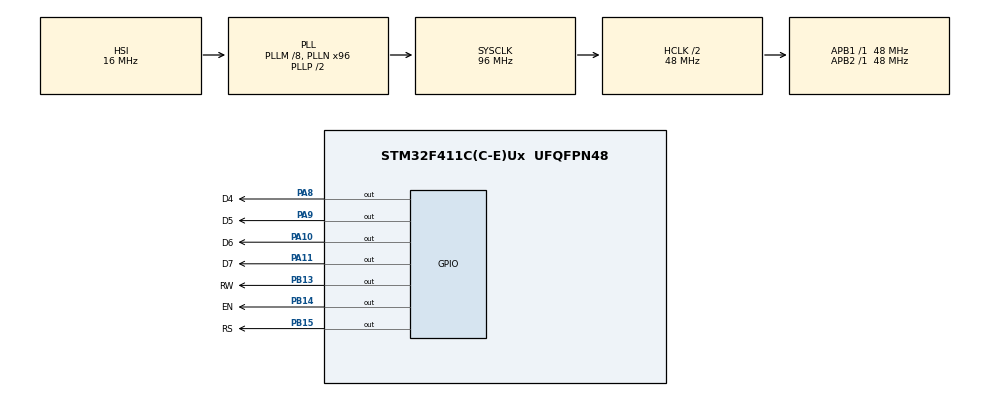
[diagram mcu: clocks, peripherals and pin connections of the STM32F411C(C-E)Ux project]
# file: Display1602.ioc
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Mcu.Family=STM32F4
Mcu.Name=STM32F411C(C-E)Ux
Mcu.Package=UFQFPN48
NVIC.PriorityGroup=NVIC_PRIORITYGROUP_4
PA10.GPIO_Label=D6
PA10.Signal=GPIO_Output
PA11.GPIO_Label=D7
PA11.Signal=GPIO_Output
PA8.GPIO_Label=D4
PA8.Signal=GPIO_Output
PA9.GPIO_Label=D5
PA9.Signal=GPIO_Output
PB13.GPIO_Label=RW
PB13.Signal=GPIO_Output
PB14.GPIO_Label=EN
PB14.Signal=GPIO_Output
PB15.GPIO_Label=RS
PB15.Signal=GPIO_Output
PH0\ -\ OSC_IN.Mode=HSE-External-Oscillator
PH0\ -\ OSC_IN.Signal=RCC_OSC_IN
PH1\ -\ OSC_OUT.Mode=HSE-External-Oscillator
PH1\ -\ OSC_OUT.Signal=RCC_OSC_OUT
ProjectManager.HeapSize=0x200
ProjectManager.StackSize=0x400
ProjectManager.TargetToolchain=STM32CubeIDE
RCC.48MHZClocksFreq_Value=48000000
RCC.AHBCLKDivider=RCC_SYSCLK_DIV2
RCC.AHBFreq_Value=48000000
RCC.APB1Freq_Value=48000000
RCC.APB1TimFreq_Value=48000000
RCC.APB2Freq_Value=48000000
RCC.APB2TimFreq_Value=48000000
RCC.CortexFreq_Value=48000000
RCC.HCLKFreq_Value=48000000
RCC.HSE_VALUE=25000000
RCC.HSI_VALUE=16000000
RCC.LSE_VALUE=32768
RCC.PLLM=8
RCC.PLLN=96
RCC.SYSCLKFreq_VALUE=96000000
RCC.SYSCLKSource=RCC_SYSCLKSOURCE_PLLCLK
RCC.VCOOutputFreq_Value=192000000
board=custom

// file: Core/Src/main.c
/* USER CODE BEGIN Header */
/**
  ******************************************************************************
  * @file           : main.c
  * @brief          : Main program body
  ******************************************************************************
  * @attention
  *
  * Copyright (c) 2022 STMicroelectronics.
  * All rights reserved.
  *
  * This software is licensed under terms that can be found in the LICENSE file
  * in the root directory of this software component.
  * If no LICENSE file comes with this software, it is provided AS-IS.
  *
  ******************************************************************************
  */
/* USER CODE END Header */
#include "main.h"

void SystemClock_Config(void);
static void MX_GPIO_Init(void);
/* USER CODE BEGIN PFP */

void writeCommandLCD(uint32_t, uint32_t, uint32_t, uint32_t, uint32_t, uint32_t);
void clearLCD(void);
void cursorLCD(uint16_t, uint16_t);
void homeLCD(void);
void initLCD(void);
void writeLCD(unsigned char);

/* USER CODE END PFP */

int main(void)
{

  /* MCU Configuration--------------------------------------------------------*/

  /* Reset of all peripherals, Initializes the Flash interface and the Systick. */
  HAL_Init();

  /* Configure the system clock */
  SystemClock_Config();

  /* Initialize all configured peripherals */
  MX_GPIO_Init();
  /* USER CODE BEGIN 2 */
  unsigned char vector[13];
  vector[0] = 88;
  vector[1] = 111;
  vector[2] = 114;
  vector[3] = 110;
  vector[4] = 111;
  vector[5] = 116;
  vector[6] = 111;
  vector[7] = 114;
  vector[8] = 32;
  vector[9] = 50;
  vector[10] = 48;
  vector[11] = 50;
  vector[12] = 50;

  initLCD();

  cursorLCD(0, 4);

  int i;
  for(i = 0; i < 8; i++){
	 writeLCD(vector[i]);
  }

  cursorLCD(1, 6);

  for(i = 9; i < 13; i++){
	  writeLCD(vector[i]);
  }

  /* USER CODE END 2 */

  /* Infinite loop */
  while (1)
  {

  }
}

void SystemClock_Config(void)
{
  RCC_OscInitTypeDef RCC_OscInitStruct = {0};
  RCC_ClkInitTypeDef RCC_ClkInitStruct = {0};

  /** Configure the main internal regulator output voltage
  */
  __HAL_RCC_PWR_CLK_ENABLE();
  __HAL_PWR_VOLTAGESCALING_CONFIG(PWR_REGULATOR_VOLTAGE_SCALE1);

  /** Initializes the RCC Oscillators according to the specified parameters
  * in the RCC_OscInitTypeDef structure.
  */
  RCC_OscInitStruct.OscillatorType = RCC_OSCILLATORTYPE_HSI;
  RCC_OscInitStruct.HSIState = RCC_HSI_ON;
  RCC_OscInitStruct.HSICalibrationValue = RCC_HSICALIBRATION_DEFAULT;
  RCC_OscInitStruct.PLL.PLLState = RCC_PLL_ON;
  RCC_OscInitStruct.PLL.PLLSource = RCC_PLLSOURCE_HSI;
  RCC_OscInitStruct.PLL.PLLM = 8;
  RCC_OscInitStruct.PLL.PLLN = 96;
  RCC_OscInitStruct.PLL.PLLP = RCC_PLLP_DIV2;
  RCC_OscInitStruct.PLL.PLLQ = 4;
  if (HAL_RCC_OscConfig(&RCC_OscInitStruct) != HAL_OK)
  {
    Error_Handler();
  }

  /** Initializes the CPU, AHB and APB buses clocks
  */
  RCC_ClkInitStruct.ClockType = RCC_CLOCKTYPE_HCLK|RCC_CLOCKTYPE_SYSCLK
                              |RCC_CLOCKTYPE_PCLK1|RCC_CLOCKTYPE_PCLK2;
  RCC_ClkInitStruct.SYSCLKSource = RCC_SYSCLKSOURCE_PLLCLK;
  RCC_ClkInitStruct.AHBCLKDivider = RCC_SYSCLK_DIV2;
  RCC_ClkInitStruct.APB1CLKDivider = RCC_HCLK_DIV1;
  RCC_ClkInitStruct.APB2CLKDivider = RCC_HCLK_DIV1;

  if (HAL_RCC_ClockConfig(&RCC_ClkInitStruct, FLASH_LATENCY_1) != HAL_OK)
  {
    Error_Handler();
  }
}

static void MX_GPIO_Init(void)
{
  GPIO_InitTypeDef GPIO_InitStruct = {0};

  /* GPIO Ports Clock Enable */
  __HAL_RCC_GPIOH_CLK_ENABLE();
  __HAL_RCC_GPIOB_CLK_ENABLE();
  __HAL_RCC_GPIOA_CLK_ENABLE();

  /*Configure GPIO pin Output Level */
  HAL_GPIO_WritePin(GPIOB, RW_Pin|EN_Pin|RS_Pin, GPIO_PIN_RESET);

  /*Configure GPIO pin Output Level */
  HAL_GPIO_WritePin(GPIOA, D4_Pin|D5_Pin|D6_Pin|D7_Pin, GPIO_PIN_RESET);

  /*Configure GPIO pins : RW_Pin EN_Pin RS_Pin */
  GPIO_InitStruct.Pin = RW_Pin|EN_Pin|RS_Pin;
  GPIO_InitStruct.Mode = GPIO_MODE_OUTPUT_PP;
  GPIO_InitStruct.Pull = GPIO_NOPULL;
  GPIO_InitStruct.Speed = GPIO_SPEED_FREQ_LOW;
  HAL_GPIO_Init(GPIOB, &GPIO_InitStruct);

  /*Configure GPIO pins : D4_Pin D5_Pin D6_Pin D7_Pin */
  GPIO_InitStruct.Pin = D4_Pin|D5_Pin|D6_Pin|D7_Pin;
  GPIO_InitStruct.Mode = GPIO_MODE_OUTPUT_PP;
  GPIO_InitStruct.Pull = GPIO_NOPULL;
  GPIO_InitStruct.Speed = GPIO_SPEED_FREQ_LOW;
  HAL_GPIO_Init(GPIOA, &GPIO_InitStruct);

}

/* USER CODE BEGIN 4 */

void writeCommandLCD(uint32_t RS_Val, uint32_t D7_Val, uint32_t D6_Val, uint32_t D5_Val, uint32_t D4_Val, uint32_t DelayEN){
	HAL_GPIO_WritePin(RS_GPIO_Port, RS_Pin, RS_Val);
	HAL_GPIO_WritePin(D4_GPIO_Port, D4_Pin, D4_Val);
	HAL_GPIO_WritePin(D5_GPIO_Port, D5_Pin, D5_Val);
	HAL_GPIO_WritePin(D6_GPIO_Port, D6_Pin, D6_Val);
	HAL_GPIO_WritePin(D7_GPIO_Port, D7_Pin, D7_Val);
	HAL_Delay(DelayEN);
	HAL_GPIO_WritePin(EN_GPIO_Port, EN_Pin, 1);
	HAL_Delay(DelayEN);
	HAL_GPIO_WritePin(EN_GPIO_Port, EN_Pin, 0);
}

void writeLCD(unsigned char c){
	uint16_t bit[8];
	bit[7] = c/128;
	bit[6] = c/64 - ((c/128)*2);
	bit[5] = c/32 - ((c/64)*2);
	bit[4] = c/16 - ((c/32)*2);
	bit[3] = c/8 - ((c/16)*2);
	bit[2] = c/4 - ((c/8)*2);
	bit[1] = c/2 - ((c/4)*2);
	bit[0] = c - ((c/2)*2);
	writeCommandLCD(1, bit[7], bit[6], bit[5], bit[4], 4);
	writeCommandLCD(1, bit[3], bit[2], bit[1], bit[0], 4);
}

void clearLCD(){
	writeCommandLCD(0, 0, 0, 0, 0, 4);
	writeCommandLCD(0, 0, 0, 0, 1, 4);
}

void cursorLCD(uint16_t row, uint16_t column){
	uint16_t addr = 0;
	if(row != 0) addr += 0x40;
	addr += column;
	uint16_t bit[8];
	bit[7] = addr/128;
	bit[6] = addr/64 - ((addr/128)*2);
	bit[5] = addr/32 - ((addr/64)*2);
	bit[4] = addr/16 - ((addr/32)*2);
	bit[3] = addr/8 - ((addr/16)*2);
	bit[2] = addr/4 - ((addr/8)*2);
	bit[1] = addr/2 - ((addr/4)*2);
	bit[0] = addr - ((addr/2)*2);
	writeCommandLCD(0, 1, bit[6], bit[5], bit[4], 4);
	writeCommandLCD(0, bit[3], bit[2], bit[1], bit[0], 4);
}

void homeLCD(){
	writeCommandLCD(0, 0, 0, 0, 0, 4);
	writeCommandLCD(0, 0, 0, 1, 0, 4);
}

void initLCD(){
	//RW 0
	HAL_GPIO_WritePin(RW_GPIO_Port, RW_Pin, 0);

	//4 bit data
	writeCommandLCD(0, 0, 0, 1, 0, 4);

	//2 line, font 5x8
	writeCommandLCD(0, 0, 0, 1, 0, 4);
	writeCommandLCD(0, 1, 0, 0, 0, 4);

	//Display ON
	writeCommandLCD(0, 0, 0, 0, 0, 2);
	writeCommandLCD(0, 1, 1, 1, 1, 2);

	//Clear LCD
	writeCommandLCD(0, 0, 0, 0, 0, 2);
	writeCommandLCD(0, 0, 0, 0, 1, 2);

	//Return Home
	writeCommandLCD(0, 0, 0, 0, 0, 2);
	writeCommandLCD(0, 0, 0, 1, 0, 2);
}

/* USER CODE END 4 */

void Error_Handler(void)
{
  __disable_irq();
  while (1)
  {
  }
}
